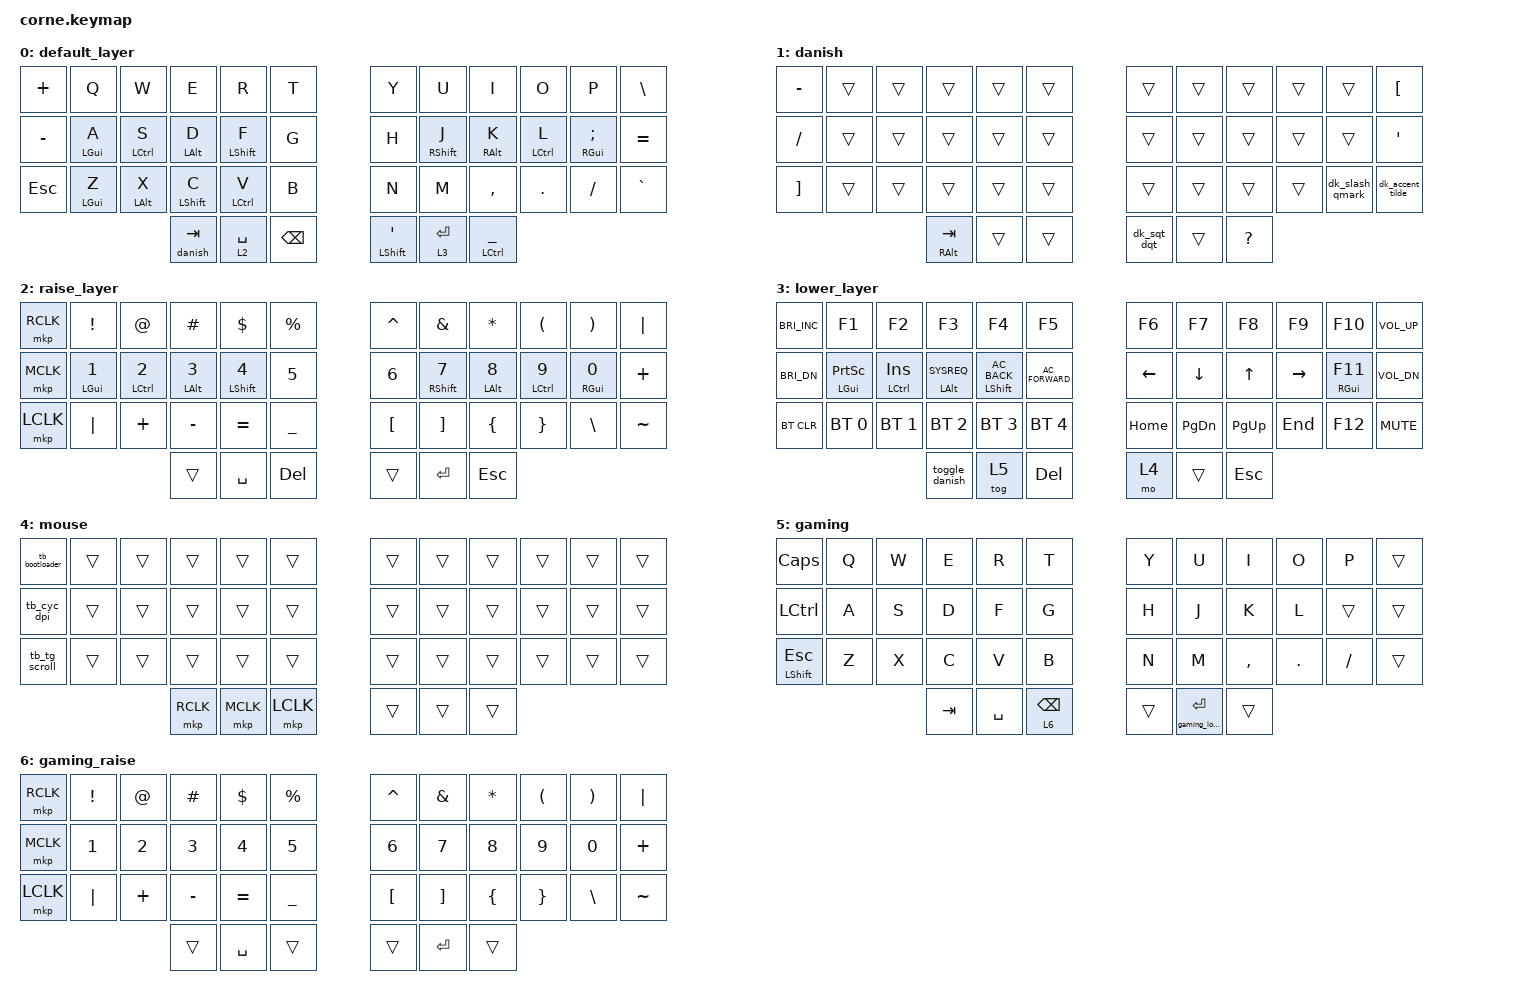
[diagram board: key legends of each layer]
/*
 * Copyright (c) 2020 The ZMK Contributors
 *
 * SPDX-License-Identifier: MIT
 */

#include <interfaces/hid-trackball.dtsi>
#include <behaviors.dtsi>
#include <dt-bindings/zmk/bt.h>
#include <dt-bindings/zmk/keys.h>
#include <dt-bindings/zmk/pointing.h>

&hid_trackball_interface {
    automouse-layer = <4>;
    automouse-layer-timeout-ms = <400>;
};

/ {
    behaviors {
        bhm: balanced_homerow_mods {
            compatible = "zmk,behavior-hold-tap";
            label = "HOMEROW_MODS";
            #binding-cells = <2>;
            tapping-term-ms = <200>;// <---[[moderate duration]]
            quick-tap-ms = <125>;
            flavor = "balanced";
            bindings = <&kp>, <&kp>;

            global-quick-tap;
        };

        danish_or: danish_or {
            compatible = "zmk,behavior-hold-tap";
            label = "DANISH_OR";
            bindings = <&danish>, <&kp>;

            #binding-cells = <2>;
            tapping-term-ms = <150>;
            quick-tap-ms = <0>;
            flavor = "balanced";
        };

        dk_sqt_dqt: dk_sqt_dqt {
            compatible = "zmk,behavior-mod-morph";
            label = "DK_SQT_DQT";
            bindings = <&kp BACKSLASH>, <&kp AT>;

            #binding-cells = <0>;
            mods = <(MOD_LSFT|MOD_RSFT)>;
        };

        dk_slash_qmark: dk_slash_qmark {
            compatible = "zmk,behavior-mod-morph";
            label = "DK_SLASH_QMARK";
            bindings = <&kp AMPS>, <&kp UNDER>;

            #binding-cells = <0>;
            mods = <(MOD_LSFT|MOD_RSFT)>;
        };

        dk_accent_tilde: dk_accent_tilde {
            compatible = "zmk,behavior-mod-morph";
            label = "DK_ACCENT_TILDE";
            bindings = <&kp EQUAL>, <&kp RBKT>;

            #binding-cells = <0>;
            mods = <(MOD_RALT)>;
            keep-mods = <(MOD_RALT)>;
        };

        gaming_lower_or: gaming_lower_or {
            compatible = "zmk,behavior-hold-tap";
            label = "GAMING_LOWER_OR";
            bindings = <&gaming_lower>, <&kp>;

            #binding-cells = <2>;
            tapping-term-ms = <150>;
            quick-tap-ms = <0>;
            flavor = "balanced";
        };
    };

    macros {
        danish: danish {
            compatible = "zmk,behavior-macro";
            label = "DANISH";
            #binding-cells = <0>;
            bindings =
                <&macro_tap>,
                <&tog 1 &kt RCTRL>,
                <&macro_pause_for_release>,
                <&tog 1 &kt RCTRL>;

            wait-ms = <10>;
        };

        toggle_danish: toggle_danish {
            compatible = "zmk,behavior-macro";
            #binding-cells = <0>;
            bindings =
                <&macro_tap>,
                <&kp LG(SPACE) &tog 1>,
                <&macro_release>,
                <&kp RCTRL>;

            label = "TOGGLE_DANISH";
        };

        gaming_lower: gaming_lower {
            compatible = "zmk,behavior-macro";
            #binding-cells = <0>;
            bindings =
                <&macro_tap>,
                <&tog 5>,
                <&macro_press>,
                <&mo 3>,
                <&macro_pause_for_release>,
                <&macro_release>,
                <&mo 3>,
                <&macro_tap>,
                <&tog 5>;

            label = "GAMING_LOWER";
            wait-ms = <0>;
            tap-ms = <0>;
        };
    };

    keymap {
        compatible = "zmk,keymap";

        default_layer {
            bindings = <
&kp PLUS   &kp Q        &kp W         &kp E             &kp R          &kp T       &kp Y           &kp U          &kp I             &kp O         &kp P           &kp BACKSLASH
&kp MINUS  &bhm LGUI A  &bhm LCTRL S  &bhm LALT D       &bhm LSHIFT F  &kp G       &kp H           &bhm RSHIFT J  &bhm RALT K       &bhm LCTRL L  &bhm RGUI SEMI  &kp EQUAL
&kp ESC    &bhm LGUI Z  &bhm LALT X   &bhm LSHIFT C     &bhm LCTRL V   &kp B       &kp N           &kp M          &kp COMMA         &kp DOT       &kp FSLH        &kp GRAVE
                                      &danish_or 0 TAB  &lt 2 SPACE    &kp BSPC    &bhm LSHFT SQT  &lt 3 RET      &bhm LCTRL UNDER
            >;
        };

        danish {
            bindings = <
&kp MINUS  &trans  &trans  &trans              &trans  &trans    &trans       &trans  &trans        &trans  &trans           &kp LBKT
&kp SLASH  &trans  &trans  &trans              &trans  &trans    &trans       &trans  &trans        &trans  &trans           &kp SQT
&kp RBKT   &trans  &trans  &trans              &trans  &trans    &trans       &trans  &trans        &trans  &dk_slash_qmark  &dk_accent_tilde
                           &bhm RIGHT_ALT TAB  &trans  &trans    &dk_sqt_dqt  &trans  &kp QUESTION
            >;
        };

        raise_layer {
            bindings = <
&mkp RCLK  &kp EXCL      &kp AT         &kp HASH      &kp DLLR        &kp PRCNT    &kp CARET  &kp AMPS        &kp ASTERISK  &kp LPAR       &kp RPAR       &kp PIPE
&mkp MCLK  &bhm LGUI N1  &bhm LCTRL N2  &bhm LALT N3  &bhm LSHIFT N4  &kp N5       &kp N6     &bhm RSHIFT N7  &bhm LALT N8  &bhm LCTRL N9  &bhm RGUI N0   &kp PLUS
&mkp LCLK  &kp PIPE      &kp PLUS       &kp MINUS     &kp EQUAL       &kp UNDER    &kp LBKT   &kp RBKT        &kp LBRC      &kp RBRC       &kp BACKSLASH  &kp TILDE
                                        &trans        &kp SPACE       &kp DEL      &trans     &kp ENTER       &kp ESC
            >;
        };

        lower_layer {
            bindings = <
&kp C_BRI_INC  &kp F1           &kp F2             &kp F3            &kp F4                 &kp F5              &kp F6    &kp F7     &kp F8     &kp F9     &kp F10        &kp C_VOL_UP
&kp C_BRI_DN   &bhm LGUI PSCRN  &bhm LCTRL INSERT  &bhm LALT SYSREQ  &bhm LSHIFT C_AC_BACK  &kp C_AC_FORWARD    &kp LEFT  &kp DOWN   &kp UP     &kp RIGHT  &bhm RGUI F11  &kp C_VOL_DN
&bt BT_CLR     &bt BT_SEL 0     &bt BT_SEL 1       &bt BT_SEL 2      &bt BT_SEL 3           &bt BT_SEL 4        &kp HOME  &kp PG_DN  &kp PG_UP  &kp END    &kp F12        &kp C_MUTE
                                                   &toggle_danish    &tog 5                 &kp DELETE          &mo 4     &trans     &kp ESC
            >;
        };

        mouse {
            bindings = <
&tb_bootloader  &trans  &trans  &trans     &trans     &trans       &trans  &trans  &trans  &trans  &trans  &trans
&tb_cyc_dpi     &trans  &trans  &trans     &trans     &trans       &trans  &trans  &trans  &trans  &trans  &trans
&tb_tg_scroll   &trans  &trans  &trans     &trans     &trans       &trans  &trans  &trans  &trans  &trans  &trans
                                &mkp RCLK  &mkp MCLK  &mkp LCLK    &trans  &trans  &trans
            >;
        };

        gaming {
            bindings = <
&kp CAPSLOCK            &kp Q  &kp W  &kp E    &kp R      &kp T              &kp Y   &kp U                     &kp I      &kp O    &kp P     &trans
&kp LCTRL               &kp A  &kp S  &kp D    &kp F      &kp G              &kp H   &kp J                     &kp K      &kp L    &trans    &trans
&bhm LEFT_SHIFT ESCAPE  &kp Z  &kp X  &kp C    &kp V      &kp B              &kp N   &kp M                     &kp COMMA  &kp DOT  &kp FSLH  &trans
                                      &kp TAB  &kp SPACE  &lt 6 BACKSPACE    &trans  &gaming_lower_or 0 ENTER  &trans
            >;
        };

        gaming_raise {
            bindings = <
&mkp RCLK  &kp EXCL  &kp AT    &kp HASH   &kp DLLR   &kp PRCNT    &kp CARET  &kp AMPS   &kp ASTERISK  &kp LPAR  &kp RPAR       &kp PIPE
&mkp MCLK  &kp N1    &kp N2    &kp N3     &kp N4     &kp N5       &kp N6     &kp N7     &kp N8        &kp N9    &kp N0         &kp PLUS
&mkp LCLK  &kp PIPE  &kp PLUS  &kp MINUS  &kp EQUAL  &kp UNDER    &kp LBKT   &kp RBKT   &kp LBRC      &kp RBRC  &kp BACKSLASH  &kp TILDE
                               &trans     &kp SPACE  &trans       &trans     &kp ENTER  &trans
            >;
        };
    };

    conditional_layers { compatible = "zmk,conditional-layers"; };
};
